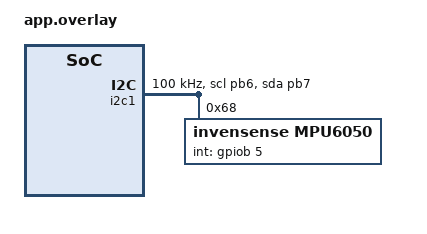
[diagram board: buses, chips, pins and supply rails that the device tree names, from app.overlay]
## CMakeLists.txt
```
# SPDX-License-Identifier: Apache-2.0

cmake_minimum_required(VERSION 3.20.0)
find_package(Zephyr REQUIRED HINTS $ENV{ZEPHYR_BASE})
project(001SSD1306_Demo)
file(GLOB app_sources src/*.c)
target_sources(app PRIVATE ${app_sources})
```

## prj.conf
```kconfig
# CONFIG_GPIO=y             # 启用 GPIO 驱动
# CONFIG_LED=y
# # UART 配置
CONFIG_SERIAL=y
# CONFIG_UART_INTERRUPT_DRIVEN=y  # 确保中断驱动支持（部分版本需要）
CONFIG_UART_CONSOLE=y

# 启用 I2C
CONFIG_I2C=y

# 启用显示子系统
# CONFIG_DISPLAY=y

# 启用 SSD1306 驱动
# CONFIG_SSD1306=y

CONFIG_SENSOR=y
CONFIG_MPU6050_TRIGGER_NONE=y
CONFIG_MPU6050=y
CONFIG_GPIO=y
CONFIG_CBPRINTF_FP_SUPPORT=y
CONFIG_MAIN_STACK_SIZE=2048
```

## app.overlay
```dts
// / {
// 	leds {
// 		compatible = "gpio-leds";
// 		userled: led_1 {
// 			gpios = <&gpioc 13 GPIO_ACTIVE_LOW>;
// 			label = "LED 1";
// 			status = "okay";
// 		};
// 	};

// 	aliases {
// 		led1 = &userled;
// 	};

// };

// &usart1 {
// 	status = "okay";
// 	current-speed = <115200>;
// 	pinctrl-0 = <&usart1_tx_pa9 &usart1_rx_pa10>;
// 	pinctrl-names = "default";
// };

&i2c1 {
	status = "okay";
	clock-frequency = <I2C_BITRATE_STANDARD>;
	pinctrl-0 = <&i2c1_scl_pb6 &i2c1_sda_pb7>;
	pinctrl-names = "default";
	
	mpu6050: mpu6050@68 {
		compatible = "invensense,mpu6050";
		reg = <0x68>;
		status = "okay";
		int-gpios = <&gpiob 5 GPIO_ACTIVE_HIGH>;
	};
	// ssd1306: ssd1306@3c {
	// 	compatible = "solomon,ssd1306fb";
	// 	reg = <0x3c>;
	// 	label = "SSD1306";
	// 	width = <128>;
	// 	height = <64>;
	// 	segment-offset = <0>;
	// 	page-offset = <0>;
	// 	display-offset = <0>;
	// 	multiplex-ratio = <63>;
	// 	segment-remap;
	// 	com-invdir;
	// 	prechargep = <0x22>;
	// 	reset-gpios = <&gpioa 1 GPIO_ACTIVE_LOW>;
	// };
};
```

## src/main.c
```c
//? 此项目为MPU6050读取加速度与角速度测试所用
// brief 基于zephyr4.0
// bug 注意增加主线程的栈大小，否则printk会造成栈溢出
//- 测试通过
#include <zephyr/device.h>
#include <zephyr/devicetree.h>
#include <zephyr/drivers/sensor.h>
#include <zephyr/kernel.h>
#include <zephyr/sys/printk.h>

#define MPU6050_NODE DT_NODELABEL(mpu6050)
static const struct device *mpu6050_dev = DEVICE_DT_GET(MPU6050_NODE);

void main(void) {
  if (!device_is_ready(mpu6050_dev)) {
    printk("MPU6050 device not ready\n");
    return;
  } else {
    printk("MPU6050 device ready: %s\n", mpu6050_dev->name);
  }

  struct sensor_value accel[3];
  struct sensor_value gyro[3];
  struct sensor_value temperature;

  while (1) {
    int rc = sensor_sample_fetch(mpu6050_dev);
    if (rc != 0) {
      printk("Failed to fetch sensor data\n");
      return;
    }
    sensor_channel_get(mpu6050_dev, SENSOR_CHAN_ACCEL_XYZ, accel);
    sensor_channel_get(mpu6050_dev, SENSOR_CHAN_GYRO_XYZ, gyro);
    sensor_channel_get(mpu6050_dev, SENSOR_CHAN_DIE_TEMP, &temperature);
    if (rc == 0) {
      printk("  T %g Cel\n", sensor_value_to_double(&temperature));

      printk("  accel %f %f %f m/s/s\n", sensor_value_to_double(&accel[0]),
             sensor_value_to_double(&accel[1]),
             sensor_value_to_double(&accel[2]));
      printk("  gyro  %f %f %f rad/s\n", sensor_value_to_double(&gyro[0]),
             sensor_value_to_double(&gyro[1]),
             sensor_value_to_double(&gyro[2]));
    } else {
      printk("sample fetch/get failed: %d\n", rc);
    }
    k_sleep(K_MSEC(1000));
  }
}
```
